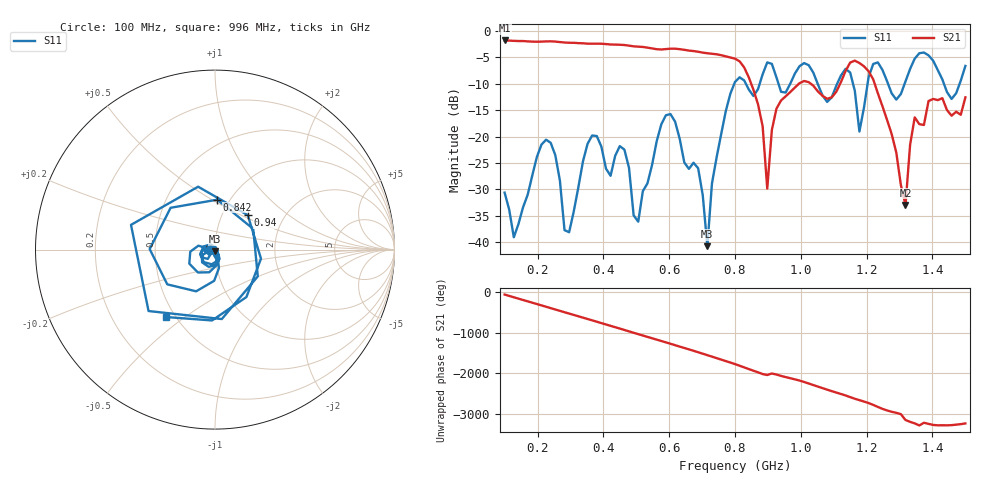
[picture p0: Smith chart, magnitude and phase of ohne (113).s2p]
! NanoVNA-App
! Date: 2025-09-25 14:21:41
! Start: 100MHz Stop: 1,5GHz Points: 101
! S-Parameter data: F S11 S21 S12 S22
# Hz S RI R 50
!  Frequency  S11_Real  S11_Imag  S21_Real  S21_Imag  S12_Real  S12_Imag  S22_Real  S22_Imag
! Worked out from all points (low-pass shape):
!   101 points, 100 MHz to 1.5 GHz, reference 50 ohm
!   highest |S21| = -1.79 dB at 100 MHz (marker M1); lowest = -33.0 dB at 1.318 GHz (marker M2)
!   |S21| within 3 dB of the highest: start of sweep to 771.2 MHz
!   lowest |S11| = -40.8 dB at 716 MHz (marker M3), VSWR 1.02, Z = 49.7 - j0.87 ohm
!   |S11| at or under -10 dB: start of sweep to 797.8 MHz; 833 MHz to 875.1 MHz (42.03 MHz wide, 4.92 % of centre); 1.051 GHz to 1.11 GHz (59.26 MHz wide, 5.48 % of centre) (the widest 3 of 7)
!   S12 and S22 are empty: the file has one direction only
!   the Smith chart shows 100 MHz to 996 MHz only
!   S11 on the Smith chart (normalised r, x): 100 MHz: 0.94, -0.01; 842 MHz: 0.88, +0.53; 940 MHz: 1.32, +0.54; 996 MHz: 0.45, -0.43
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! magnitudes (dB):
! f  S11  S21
! 100 MHz  -30.6  -1.8
! 128 MHz  -39.1  -1.9
! 226 MHz  -20.6  -2.0
! 296 MHz  -38.1  -2.2
! 338 MHz  -24.7  -2.3
! 464 MHz  -22.5  -2.7
! 506 MHz  -36.1  -3.0
! 576 MHz  -17.7  -3.5
! 688 MHz  -26.0  -3.9
! 716 MHz  -40.8  -4.2
! 800 MHz  -9.7  -5.2
! 842 MHz  -11.1  -8.8
! 898 MHz  -5.9  -29.9
! 940 MHz  -11.5  -13.2
! 996 MHz  -6.7  -9.9
! 1.038 GHz  -7.9  -10.4
! 1.178 GHz  -19.1  -6.1
! 1.22 GHz  -6.2  -9.2
! 1.276 GHz  -11.8  -19.5
! 1.318 GHz  -9.6  -33.0
! 1.346 GHz  -5.2  -16.4
! 1.5 GHz  -6.6  -12.6
